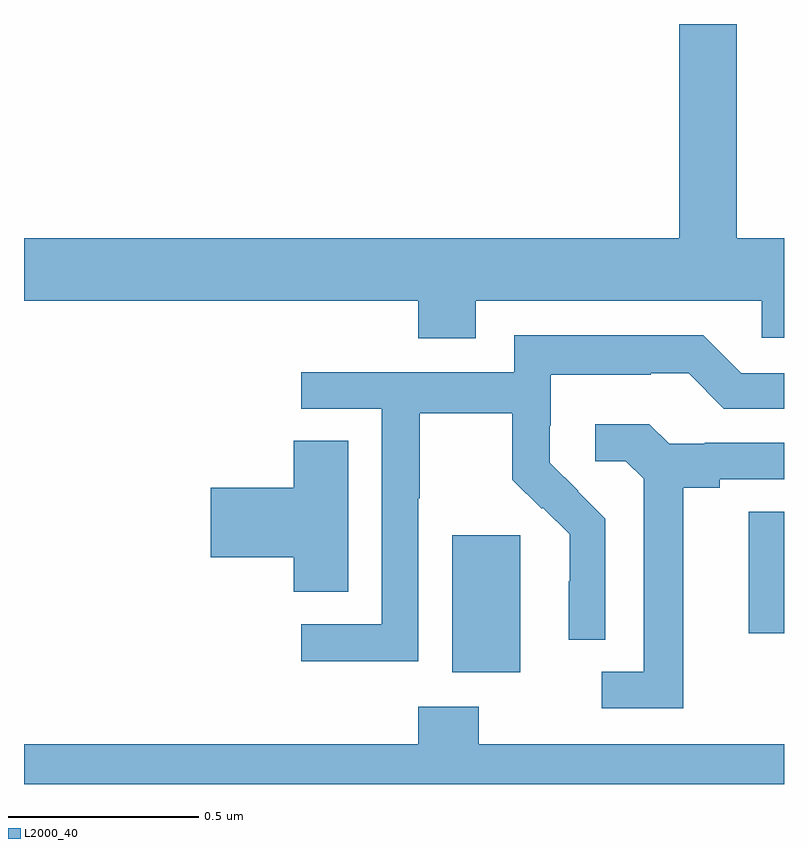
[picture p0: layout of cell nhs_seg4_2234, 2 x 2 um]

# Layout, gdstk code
import gdstk
lib = gdstk.Library(unit=1e-6, precision=1e-09)
def R(c, l, rs):  # rectangles x0, y0, x1, y1
    for r in rs: c.add(gdstk.rectangle(r[:2], r[2:], *l))
def P(c, l, *ps):  # polygons
    for p in ps: c.add(gdstk.Polygon(p, *l))
L2000_40 = (2000, 40)

nhs_seg4_2234 = lib.new_cell('nhs_seg4_2234')
R(nhs_seg4_2234, L2000_40, [(139.127,777.194,139.306,777.555), (139.907,777.297,140,777.617)])
P(nhs_seg4_2234, L2000_40, [(139.189,778.172),(139.941,778.172),(139.941,778.074),(140,778.074),(140,778.336),(139.876,778.336),(139.876,778.9),(139.724,778.9),(139.724,778.336),(138,778.336),(138,778.172),(139.037,778.172),(139.037,778.073),(139.189,778.073)],
  [(139.038,777.652),(139.041,777.652),(139.041,777.876),(139.285,777.876),(139.285,777.701),(139.362,777.624),(139.365,777.627),(139.436,777.557),(139.436,777.434),(139.434,777.434),(139.434,777.28),(139.53,777.28),(139.53,777.598),(139.457,777.671),(139.458,777.672),(139.384,777.746),(139.384,777.843),(139.386,777.843),(139.386,777.977),(139.649,777.977),(139.649,777.981),(139.749,777.981),(139.842,777.888),(140,777.888),(140,777.981),(139.887,777.981),(139.787,778.081),(139.29,778.081),(139.29,777.984),(138.729,777.984),(138.729,777.888),(138.942,777.888),(138.942,777.321),(138.729,777.321),(138.729,777.223),(139.038,777.223)],
  [(139.735,777.68),(139.831,777.68),(139.831,777.702),(140,777.702),(140,777.798),(139.792,777.798),(139.792,777.795),(139.698,777.795),(139.646,777.847),(139.503,777.847),(139.503,777.75),(139.584,777.75),(139.631,777.703),(139.631,777.195),(139.521,777.195),(139.521,777.099),(139.735,777.099)],
  [(138.853,777.803),(138.71,777.803),(138.71,777.68),(138.492,777.68),(138.492,777.497),(138.71,777.497),(138.71,777.406),(138.853,777.406)],
  [(140,777.004),(139.197,777.004),(139.197,777.103),(139.037,777.103),(139.037,777.004),(138,777.004),(138,776.9),(140,776.9)])

lib.write_gds('nhs_seg4_2234.gds')
